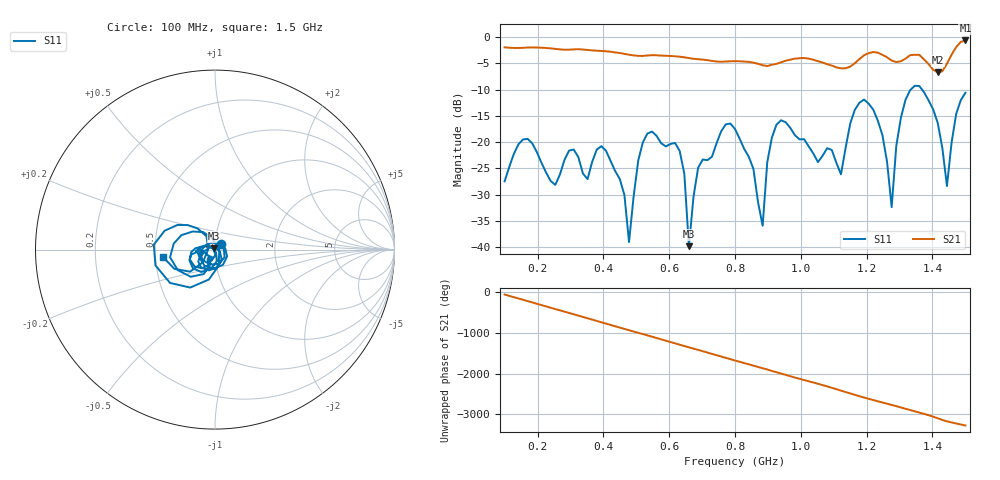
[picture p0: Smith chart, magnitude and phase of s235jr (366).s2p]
! NanoVNA-App
! Date: 2025-09-25 15:07:01
! Start: 100MHz Stop: 1,5GHz Points: 101
! S-Parameter data: F S11 S21 S12 S22
# Hz S RI R 50
!  Frequency  S11_Real  S11_Imag  S21_Real  S21_Imag  S12_Real  S12_Imag  S22_Real  S22_Imag
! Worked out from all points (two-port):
!   101 points, 100 MHz to 1.5 GHz, reference 50 ohm
!   highest |S21| = -0.65 dB at 1.5 GHz (marker M1); lowest = -6.7 dB at 1.416 GHz (marker M2)
!   |S21| within 3 dB of the highest: start of sweep to 614.8 MHz; 1.189 GHz to 1.256 GHz (67.38 MHz wide, 5.51 % of centre) (the widest 2 of 4)
!   lowest |S11| = -39.8 dB at 660 MHz (marker M3), VSWR 1.02, Z = 49.2 + j0.616 ohm
!   |S11| at or under -10 dB: start of sweep to 1.334 GHz; 1.368 GHz to end of sweep
!   S12 and S22 are empty: the file has one direction only
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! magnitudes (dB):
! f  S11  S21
! 100 MHz  -27.5  -2.0
! 170 MHz  -19.4  -2.0
! 338 MHz  -26.0  -2.4
! 408 MHz  -21.6  -2.7
! 478 MHz  -39.0  -3.4
! 520 MHz  -20.0  -3.6
! 576 MHz  -20.2  -3.5
! 632 MHz  -21.7  -3.7
! 660 MHz  -39.8  -4.0
! 688 MHz  -24.9  -4.2
! 800 MHz  -17.5  -4.6
! 884 MHz  -35.9  -5.4
! 926 MHz  -16.7  -5.1
! 1.038 GHz  -22.2  -4.3
! 1.122 GHz  -26.1  -6.0
! 1.192 GHz  -11.9  -3.5
! 1.248 GHz  -18.7  -3.4
! 1.276 GHz  -32.4  -4.5
! 1.332 GHz  -10.1  -3.5
! 1.416 GHz  -16.4  -6.7
! 1.444 GHz  -28.4  -5.1
! 1.5 GHz  -10.6  -0.7
